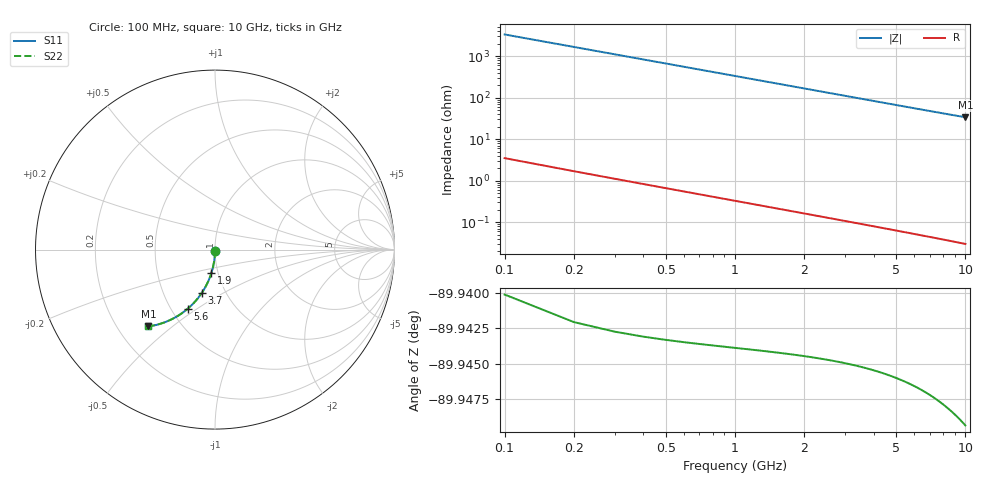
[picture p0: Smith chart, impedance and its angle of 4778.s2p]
# Hz S RI R 50.00
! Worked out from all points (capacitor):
!   100 points, 100 MHz to 10 GHz, reference 50 ohm
!   read as one part in shunt: C = 477 fF near 100 MHz
!   lowest |Z| = 33.7 ohm at 10 GHz (marker M1)
!   S11 on the Smith chart (normalised r, x): 100 MHz: 1.00, -0.01; 1.9 GHz: 0.93, -0.25; 3.7 GHz: 0.78, -0.40; 5.6 GHz: 0.60, -0.46; 10 GHz: 0.33, -0.42
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1e8  5.55e-05 -0.00696  0.9998 -0.00802  0.9998 -0.00802  5.55e-05 -0.00696
2e8  -0.000119 -0.0139  0.9996 -0.016  0.9996 -0.016  -0.000119 -0.0139
3e8  -0.000404 -0.0209  0.9993 -0.0241  0.9993 -0.0241  -0.000404 -0.0209
4e8  -0.000802 -0.0278  0.9989 -0.0321  0.9989 -0.0321  -0.000802 -0.0278
5e8  -0.00131 -0.0348  0.9984 -0.0401  0.9984 -0.0401  -0.00131 -0.0348
6e8  -0.00193 -0.0417  0.9978 -0.0481  0.9978 -0.0481  -0.00193 -0.0417
8e8  -0.0035 -0.0555  0.9962 -0.064  0.9962 -0.064  -0.0035 -0.0555
9e8  -0.00445 -0.0624  0.9953 -0.072  0.9953 -0.072  -0.00445 -0.0624
1.1e9  -0.00668 -0.0761  0.993 -0.0878  0.993 -0.0878  -0.00668 -0.0761
1.4e9  -0.0108 -0.0964  0.9888 -0.1114  0.9888 -0.1114  -0.0108 -0.0964
1.8e9  -0.0179 -0.1231  0.9817 -0.1423  0.9817 -0.1423  -0.0179 -0.1231
1.9e9  -0.0199 -0.1297  0.9797 -0.15  0.9797 -0.15  -0.0199 -0.1297
2.2e9  -0.0265 -0.1492  0.973 -0.1727  0.973 -0.1727  -0.0265 -0.1492
2.6e9  -0.0367 -0.1745  0.9626 -0.2023  0.9626 -0.2023  -0.0367 -0.1745
3.4e9  -0.0615 -0.2223  0.9376 -0.2587  0.9376 -0.2587  -0.0615 -0.2223
3.7e9  -0.0721 -0.2391  0.9269 -0.2788  0.9269 -0.2788  -0.0721 -0.2391
4.4e9  -0.0993 -0.2758  0.8993 -0.3232  0.8993 -0.3232  -0.0993 -0.2758
5.1e9  -0.1295 -0.3087  0.8687 -0.3637  0.8687 -0.3637  -0.1295 -0.3087
5.6e9  -0.1524 -0.3297  0.8455 -0.3902  0.8455 -0.3902  -0.1524 -0.3297
6.7e9  -0.2058 -0.3685  0.7912 -0.4412  0.7912 -0.4412  -0.2058 -0.3685
8.4e9  -0.2916 -0.4091  0.7038 -0.501  0.7038 -0.501  -0.2916 -0.4091
1e10  -0.3708 -0.4282  0.6228 -0.5385  0.6228 -0.5385  -0.3708 -0.4282
